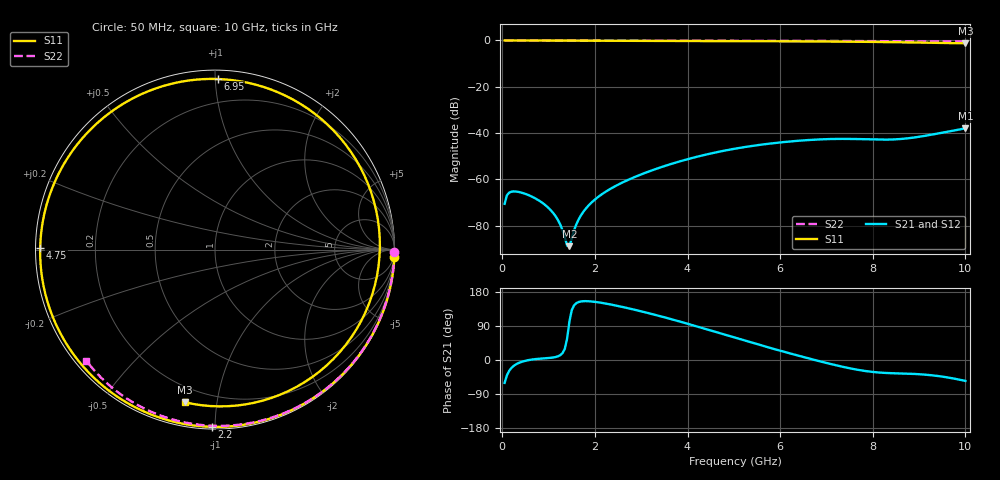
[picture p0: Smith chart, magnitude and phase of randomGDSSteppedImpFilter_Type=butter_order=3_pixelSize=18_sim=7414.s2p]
! freq	dB(S11)	phase(S11)	dB(S12)	phase(S12)
!  dB(S21)	phase(S21)	dB(S22)	phase(S22)
!S-par simulation data
#  GHz  S  DB  R 50
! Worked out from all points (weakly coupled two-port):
!   200 points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, 50 MHz to 10 GHz, reference 50 ohm
!   highest |S21| = -37.95 dB at 10 GHz (marker M1); lowest = -88.8 dB at 1.45 GHz (marker M2)
!   lowest |S11| = -1.2 dB at 10 GHz (marker M3), VSWR 14.02, Z = 5.96 - j40.8 ohm
!   |S11| at or under -10 dB: nowhere
!   |S22| runs from -0.5 to 0.0 dB; largest |S21 - S12| = 0
!   S11 on the Smith chart (normalised r, x): 50 MHz: 0, -52; 2.2 GHz: 0.01, -0.98; 4.75 GHz: 0.01, +0.00; 6.95 GHz: 0.05, +1.01; 10 GHz: 0.12, -0.82
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0.05  -0.00 -2.2  -70.50 -60.3  -70.50 -60.3  -0.00 -0.8
0.15  -0.00 -6.6  -65.66 -28.4  -65.66 -28.4  -0.00 -2.4
0.5  -0.02 -21.9  -66.22 -2.0  -66.22 -2.0  -0.01 -8.1
0.95  -0.05 -41.2  -71.41 4.8  -71.41 4.8  -0.02 -15.2
1.25  -0.07 -53.7  -79.38 12.6  -79.38 12.6  -0.03 -20.0
1.45  -0.08 -61.9  -88.78 101.8  -88.78 101.8  -0.03 -23.1
1.6  -0.08 -67.9  -79.29 150.1  -79.29 150.1  -0.03 -25.5
1.75  -0.09 -73.8  -73.95 155.2  -73.95 155.2  -0.04 -27.8
2.2  -0.11 -91.1  -65.69 149.7  -65.69 149.7  -0.04 -34.8
3.4  -0.16 -134.2  -54.89 115.9  -54.89 115.9  -0.07 -52.9
4.1  -0.19 -158.1  -50.72 92.2  -50.72 92.2  -0.09 -63.1
4.75  -0.23 179.4  -47.73 68.8  -47.73 68.8  -0.11 -72.3
5.05  -0.25 168.8  -46.62 57.9  -46.62 57.9  -0.12 -76.5
5.85  -0.32 138.5  -44.34 29.6  -44.34 29.6  -0.15 -87.3
6.7  -0.41 101.4  -42.87 1.5  -42.87 1.5  -0.19 -98.4
6.95  -0.44 89.1  -42.63 -6.3  -42.63 -6.3  -0.21 -101.6
7.6  -0.54 53.8  -42.53 -24.2  -42.53 -24.2  -0.25 -109.8
8.35  -0.71 7.3  -42.78 -34.6  -42.78 -34.6  -0.31 -119.1
8.8  -0.84 -22.6  -42.13 -36.3  -42.13 -36.3  -0.34 -124.6
9.25  -0.98 -52.7  -40.73 -40.0  -40.73 -40.0  -0.39 -130.1
9.6  -1.10 -75.7  -39.43 -45.7  -39.43 -45.7  -0.43 -134.3
10  -1.24 -101.1  -37.95 -55.2  -37.95 -55.2  -0.47 -139.1
